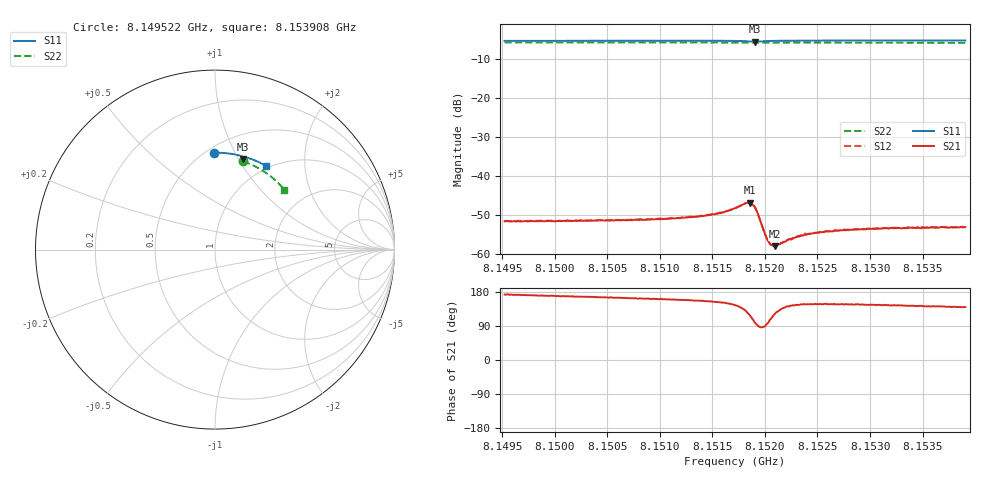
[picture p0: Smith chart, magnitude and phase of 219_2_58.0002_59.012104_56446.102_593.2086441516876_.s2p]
#  HZ  S  RI  R  50.00
! Rohde & Schwarz Vector Network Analyzer
! Rohde-Schwarz,ZNB20-2Port,1311601062101988,3.16
! Created: UTC 3/21/2024, 1:00:04 AM
! freq[Hz]  re:S11  im:S11  re:S21  im:S21  re:S12  im:S12  re:S22  im:S22
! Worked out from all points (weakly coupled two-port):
!   401 points, 8.149522 GHz to 8.153908 GHz, reference 50 ohm
!   highest |S21| = -46.83 dB at 8.151857 GHz (marker M1); lowest = -57.9 dB at 8.152099 GHz (marker M2)
!   lowest |S11| = -5.6 dB at 8.151901 GHz (marker M3), VSWR 3.23, Z = 37.3 + j52.1 ohm
!   |S11| at or under -10 dB: nowhere
!   |S22| runs from -5.8 to -5.7 dB; largest |S21 - S12| = 0.00012
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8.149522e9  -0.00308 0.5393  -0.00262 0.000331  -0.00267 0.000366  0.1565 0.4918
8.1502566e9  0.0485 0.5384  -0.00261 0.000602  -0.00264 0.000651  0.2008 0.4745
8.1509913e9  0.0998 0.5324  -0.00264 0.000951  -0.00269 0.000974  0.2432 0.4533
8.1511777e9  0.1129 0.5299  -0.0027 0.00103  -0.00269 0.0011  0.2537 0.4471
8.1514189e9  0.1301 0.526  -0.00281 0.00128  -0.00283 0.00133  0.2668 0.439
8.1515943e9  0.1433 0.5221  -0.00299 0.00165  -0.00301 0.00171  0.2763 0.4329
8.1517149e9  0.1528 0.5176  -0.00316 0.00223  -0.00315 0.00228  0.2828 0.4284
8.1518136e9  0.1591 0.5101  -0.0029 0.00339  -0.00288 0.00347  0.2877 0.4246
8.1518575e9  0.1589 0.5056  -0.00207 0.00406  -0.00204 0.00411  0.2898 0.4229
8.1518794e9  0.1574 0.5042  -0.00142 0.00411  -0.00137 0.0042  0.2908 0.422
8.1519013e9  0.1554 0.5039  -0.000721 0.00398  -0.000686 0.004  0.2919 0.4214
8.1519342e9  0.1534 0.5061  -1.28e-05 0.00325  4.78e-05 0.00324  0.2936 0.4201
8.151989e9  0.1555 0.5109  7.42e-05 0.002  0.000122 0.00198  0.2964 0.4185
8.1520219e9  0.1585 0.5126  -0.00017 0.00154  -0.000141 0.00155  0.2981 0.4172
8.1520548e9  0.1614 0.5136  -0.000406 0.00125  -0.000404 0.00127  0.2999 0.416
8.1520768e9  0.1635 0.5139  -0.000557 0.00116  -0.000533 0.00118  0.3011 0.4152
8.1520987e9  0.1657 0.5139  -0.000689 0.00106  -0.000677 0.00113  0.3022 0.4142
8.1522961e9  0.1817 0.5112  -0.00136 0.000939  -0.00136 0.000959  0.3122 0.4066
8.1524496e9  0.1928 0.508  -0.00155 0.001  -0.00156 0.00104  0.3201 0.4002
8.1526798e9  0.2085 0.5023  -0.00167 0.00109  -0.00166 0.0011  0.3312 0.3908
8.1531842e9  0.2413 0.4885  -0.00173 0.00126  -0.00176 0.00126  0.3545 0.3687
8.1539078e9  0.2858 0.4651  -0.0017 0.00145  -0.00168 0.00145  0.3855 0.3346
